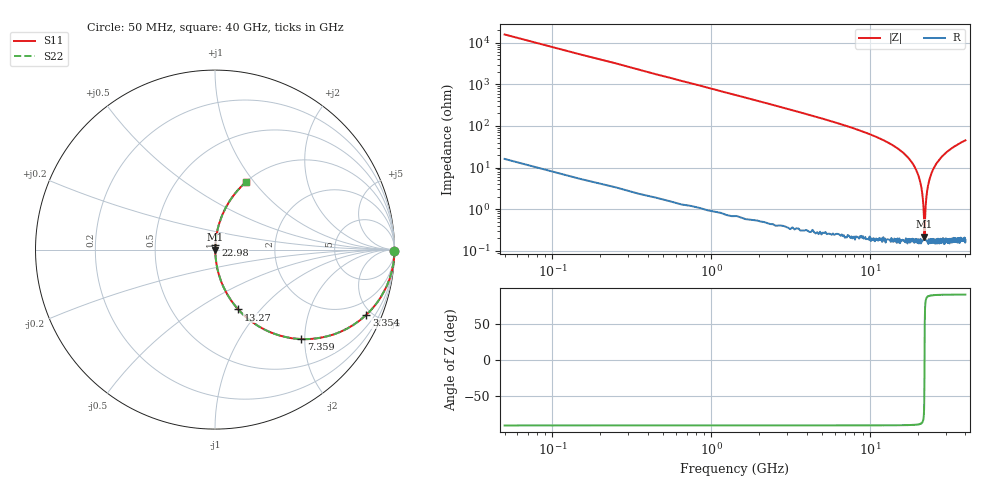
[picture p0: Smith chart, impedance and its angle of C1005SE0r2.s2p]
!	AVX	Thin	Film	Operation
!	Date:	March 2012
!	Description: Ultra-Miniature 01005 Size ACCU - P® Thin Film RF / Microwave Capacitor
!	Part Number:  C005YJ0R2ABSTR
!	Serial	Measurements
# MHZ S MA R 50
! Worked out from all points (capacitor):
!   400 points, 50 MHz to 40 GHz, reference 50 ohm
!   read as one part in series: C = 200 fF near 250.3 MHz
!   lowest |Z| = 219 mohm at 22.08 GHz (marker M1)
!   series resonance near 22.11 GHz, so ESL is about 260 pH
!   S11 on the Smith chart (normalised r, x): 50 MHz: open; 3.354 GHz: 1.00, -4.64; 7.359 GHz: 1.01, -1.92; 13.27 GHz: 1.00, -0.77; 22.98 GHz: 1.00, +0.06; 40 GHz: 1.00, +0.90
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50  1 -0.4  0.006283 89.6  0.006283 89.6  1 -0.4
150.125  1 -1.1  0.019 88.9  0.019 88.9  1 -1.1
250.251  0.999 -1.8  0.031 88.1  0.031 88.1  0.999 -1.8
750.877  0.995 -5.4  0.094 84.5  0.094 84.5  0.995 -5.4
1752.13  0.976 -12.5  0.216 77.4  0.216 77.4  0.976 -12.5
3354.135  0.918 -23.3  0.396 66.6  0.396 66.6  0.918 -23.3
6758.396  0.729 -43.1  0.683 46.8  0.683 46.8  0.729 -43.1
7359.148  0.692 -46.1  0.72 43.8  0.72 43.8  0.692 -46.1
13266.54  0.358 -68.8  0.932 21.0  0.932 21.0  0.358 -68.8
13366.67  0.353 -69.1  0.934 20.7  0.934 20.7  0.353 -69.1
17271.55  0.177 -79.3  0.983 10.2  0.983 10.2  0.177 -79.3
20075.06  0.069 -84.6  0.996 4.0  0.996 4.0  0.069 -84.6
21076.32  0.035 -85.2  0.998 2.0  0.998 2.0  0.035 -85.2
21576.94  0.018 -83.5  0.998 1.0  0.998 1.0  0.018 -83.5
21877.32  0.007896 -77.1  0.998 0.4  0.998 0.4  0.007896 -77.1
22077.57  0.002058 -34.4  0.998 0.1  0.998 0.1  0.002058 -34.4
22478.07  0.012 81.1  0.998 -0.7  0.998 -0.7  0.012 81.1
22978.7  0.028 84.9  0.998 -1.6  0.998 -1.6  0.028 84.9
24480.58  0.073 84.5  0.996 -4.2  0.996 -4.2  0.073 84.5
26783.46  0.137 81.4  0.989 -7.9  0.989 -7.9  0.137 81.4
33391.73  0.291 72.7  0.955 -16.9  0.955 -16.9  0.291 72.7
40000  0.411 65.5  0.91 -24.3  0.91 -24.3  0.411 65.5
